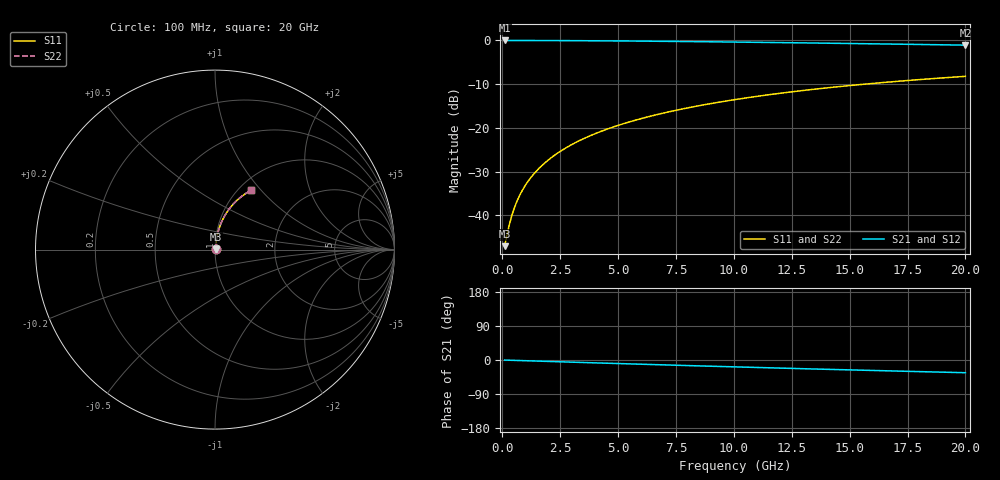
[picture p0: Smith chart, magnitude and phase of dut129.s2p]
! Touchstone file exported from HFSS 2024.1.0
!  File:  C:/UserFiles/LocalFiles/RDL_TSV_Batchsim/temp_RDL_top_129_1778684275.aedt
!  Generated:  11:00:17 PM May 13, 2026
!  Design:  RDL_top
!  Project:  temp_RDL_top_129_1778684275
!  Setup:  Setup1
!  Solution:  Sweep
! Variables:
!  dtsv = 10.80580581um
!  hbump = 3um
!  htsv = 64.83um
!  ldown = 100um
!  lrdl = 441.08um
!  p = 40
!  p1 = 40.15um
!  rhole = 1um
!  t = 450um
!  tdown = 3.915915916um
!  trdl = 3.7um
!  wdown = 15.38538539um
!  wrdl = 11.22um
# GHz S MA R 50.000000
! Terminal data exported
! Port[1] = Box2_T1
! Port[2] = Box2_T2
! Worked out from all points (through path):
!   200 points, 100 MHz to 20 GHz, reference 50 ohm
!   highest |S21| = -0.03 dB at 100 MHz (marker M1); lowest = -1.1 dB at 20 GHz (marker M2)
!   group delay of S21, straight-line fit = 4.65 ps
!   lowest |S11| = -47.1 dB at 100 MHz (marker M3), VSWR 1.01, Z = 50.4 + j0.224 ohm
!   |S11| at or under -10 dB: start of sweep to 15.7 GHz
!   |S22| runs from -47.1 to -8.2 dB; largest |S21 - S12| = 3.6e-15
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0.1  0.004434 30.1  0.9962 -0.2  0.9962 -0.2  0.004434 30.1
! Gamma 0 0 0 0
! Port Impedance 50 0 50 0
0.3  0.007734 59.0  0.996 -0.6  0.996 -0.6  0.007734 59.0
0.4  0.009701 65.0  0.9959 -0.8  0.9959 -0.8  0.009701 65.0
0.5  0.01172 69.0  0.9958 -1.0  0.9958 -1.0  0.01172 69.0
0.6  0.01377 71.7  0.9957 -1.2  0.9957 -1.2  0.01377 71.7
0.8  0.01791 75.2  0.9955 -1.5  0.9955 -1.5  0.01791 75.2
1  0.02208 77.3  0.9952 -1.9  0.9952 -1.9  0.02208 77.3
1.2  0.02626 78.7  0.995 -2.3  0.995 -2.3  0.02626 78.7
1.4  0.03047 79.6  0.9947 -2.7  0.9947 -2.7  0.03047 79.6
1.7  0.03679 80.5  0.9942 -3.2  0.9942 -3.2  0.03679 80.5
2.2  0.04736 81.2  0.9932 -4.2  0.9932 -4.2  0.04736 81.2
2.8  0.06006 81.4  0.9917 -5.3  0.9917 -5.3  0.06006 81.4
3.5  0.07488 81.1  0.9896 -6.6  0.9896 -6.6  0.07488 81.1
4.2  0.08967 80.6  0.9871 -7.9  0.9871 -7.9  0.08967 80.6
5  0.1065 79.8  0.9838 -9.4  0.9838 -9.4  0.1065 79.8
5.9  0.1254 78.7  0.9796 -11.0  0.9796 -11.0  0.1254 78.7
6.8  0.1441 77.5  0.975 -12.6  0.975 -12.6  0.1441 77.5
8.3  0.1749 75.5  0.9664 -15.2  0.9664 -15.2  0.1749 75.5
10.1  0.2111 72.9  0.955 -18.3  0.955 -18.3  0.2111 72.9
13.4  0.2747 68.0  0.9319 -23.6  0.9319 -23.6  0.2747 68.0
16.7  0.3337 63.2  0.9068 -28.7  0.9068 -28.7  0.3337 63.2
20  0.3874 58.5  0.8806 -33.5  0.8806 -33.5  0.3874 58.6
